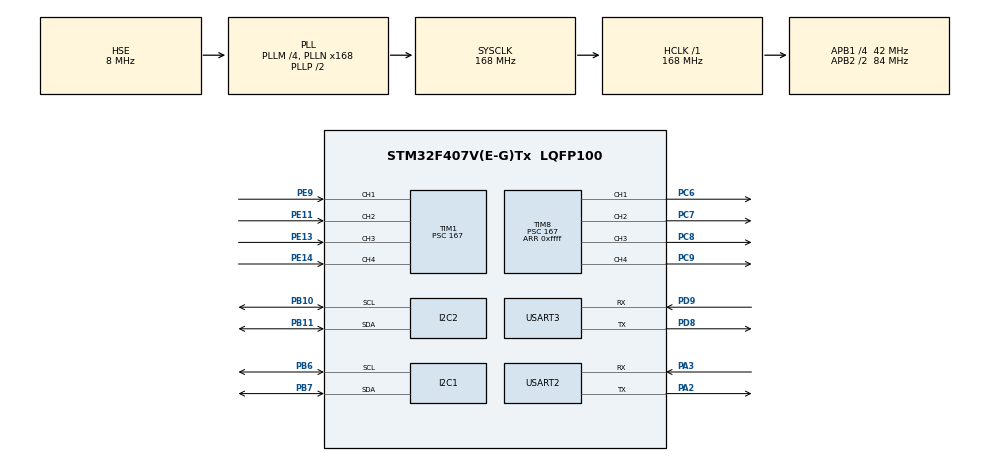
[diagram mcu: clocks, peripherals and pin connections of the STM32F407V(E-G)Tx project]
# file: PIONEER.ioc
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Mcu.Family=STM32F4
PH0-OSC_IN.Signal=RCC_OSC_IN
SH.S_TIM1_CH4.0=TIM1_CH4,Input_Capture4_from_TI4
PE14.GPIO_Speed=GPIO_SPEED_FREQ_VERY_HIGH
RCC.CortexFreq_Value=168000000
PB10.Mode=I2C
PE9.GPIO_ModeDefaultPP=GPIO_MODE_AF_PP
PE9.GPIO_Speed=GPIO_SPEED_FREQ_VERY_HIGH
TIM8.Channel-PWM\ Generation4\ CH4=TIM_CHANNEL_4
PB11.Signal=I2C2_SDA
PD9.Mode=Asynchronous
RCC.SYSCLKSource=RCC_SYSCLKSOURCE_PLLCLK
ProjectManager.StackSize=0x400
TIM1.Prescaler=167
PE11.GPIO_PuPd=GPIO_PULLDOWN
RCC.HCLKFreq_Value=168000000
TIM8.Channel-PWM\ Generation1\ CH1=TIM_CHANNEL_1
RCC.APB2TimFreq_Value=168000000
PB6.Signal=I2C1_SCL
PC7.Signal=S_TIM8_CH2
PB6.Mode=I2C
PD8.Signal=USART3_TX
RCC.AHBFreq_Value=168000000
PH0-OSC_IN.Mode=HSE-External-Oscillator
RCC.HSE_VALUE=8000000
PE13.GPIO_PuPd=GPIO_PULLDOWN
PE13.Signal=S_TIM1_CH3
PE9.Signal=S_TIM1_CH1
TIM1.Channel-Input_Capture3_from_TI3=TIM_CHANNEL_3
NVIC.TIM2_IRQn=true\:0\:0\:false\:false\:true\:true\:true
PB7.Signal=I2C1_SDA
TIM1.Channel-Input_Capture2_from_TI2=TIM_CHANNEL_2
PH1-OSC_OUT.Mode=HSE-External-Oscillator
Mcu.Package=LQFP100
TIM2.Prescaler=83
TIM8.Channel-PWM\ Generation3\ CH3=TIM_CHANNEL_3
SH.S_TIM8_CH4.0=TIM8_CH4,PWM Generation4 CH4
USART2.VirtualMode=VM_ASYNC
TIM8.Channel-PWM\ Generation2\ CH2=TIM_CHANNEL_2
TIM8.Prescaler=167
RCC.APB2CLKDivider=RCC_HCLK_DIV2
RCC.APB1TimFreq_Value=84000000
NVIC.RCC_IRQn=true\:1\:0\:true\:false\:true\:true\:false
PA3.Signal=USART2_RX
SH.S_TIM8_CH3.0=TIM8_CH3,PWM Generation3 CH3
RCC.PLLSourceVirtual=RCC_PLLSOURCE_HSE
PE11.GPIO_Speed=GPIO_SPEED_FREQ_VERY_HIGH
PC8.Signal=S_TIM8_CH3
PC6.Signal=S_TIM8_CH1
PD9.Signal=USART3_RX
RCC.APB1CLKDivider=RCC_HCLK_DIV4
SH.S_TIM8_CH2.0=TIM8_CH2,PWM Generation2 CH2
PA3.Mode=Asynchronous
SH.S_TIM1_CH1.0=TIM1_CH1,Input_Capture1_from_TI1
PB11.Mode=I2C
ProjectManager.TargetToolchain=Makefile
PE11.Signal=S_TIM1_CH2
RCC.LSE_VALUE=32768
PD8.Mode=Asynchronous
PB10.Signal=I2C2_SCL
SH.S_TIM8_CH1.0=TIM8_CH1,PWM Generation1 CH1
board=custom
RCC.VCOOutputFreq_Value=336000000
RCC.APB2Freq_Value=84000000
PE14.Signal=S_TIM1_CH4
SH.S_TIM1_CH2.0=TIM1_CH2,Input_Capture2_from_TI2
VP_TIM2_VS_ClockSourceINT.Mode=Internal
PC9.GPIO_PuPd=GPIO_NOPULL
PH1-OSC_OUT.Signal=RCC_OSC_OUT
PE14.GPIO_PuPd=GPIO_PULLDOWN
Mcu.Name=STM32F407V(E-G)Tx
PA2.Signal=USART2_TX
NVIC.TIM1_CC_IRQn=true\:0\:0\:false\:false\:true\:true\:true
TIM8.Period=0xffff
RCC.48MHZClocksFreq_Value=84000000
RCC.SYSCLKFreq_VALUE=168000000
USART3.VirtualMode=VM_ASYNC
TIM1.Channel-Input_Capture1_from_TI1=TIM_CHANNEL_1
PB7.Mode=I2C
ProjectManager.HeapSize=0x200
SH.S_TIM1_CH3.0=TIM1_CH3,Input_Capture3_from_TI3
RCC.HSI_VALUE=16000000
NVIC.PriorityGroup=NVIC_PRIORITYGROUP_4
RCC.PLLM=4
RCC.PLLN=168
PE13.GPIO_Speed=GPIO_SPEED_FREQ_VERY_HIGH
PA2.Mode=Asynchronous
PC9.Signal=S_TIM8_CH4
RCC.APB1Freq_Value=42000000
TIM1.Channel-Input_Capture4_from_TI4=TIM_CHANNEL_4
PE9.GPIO_PuPd=GPIO_PULLDOWN

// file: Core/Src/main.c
/* USER CODE BEGIN Header */
/**
  ******************************************************************************
  * @file           : main.c
  * @brief          : Main program body
  ******************************************************************************
  * @attention
  *
  * <h2><center>&copy; Copyright (c) 2020 STMicroelectronics.
  * All rights reserved.</center></h2>
  *
  * This software component is licensed by ST under BSD 3-Clause license,
  * the "License"; You may not use this file except in compliance with the
  * License. You may obtain a copy of the License at:
  *                        opensource.org/licenses/BSD-3-Clause
  *
  ******************************************************************************
  */
/* USER CODE END Header */
#include "main.h"

I2C_HandleTypeDef hi2c1;
I2C_HandleTypeDef hi2c2;

TIM_HandleTypeDef htim1;
TIM_HandleTypeDef htim2;
TIM_HandleTypeDef htim8;

UART_HandleTypeDef huart2;
UART_HandleTypeDef huart3;

/* USER CODE BEGIN PV */
int  capture_Buf[4][2]={{0,0},{0,0},{0,0},{0,0}}; //存放计数值
int  capture_Cnt[4]={0,0,0,0};//状态标志位
int  high_time[4]={0,0,0,0}; //高电平时间
char buf[4][20];
char temp[20];

/* USER CODE END PV */

void SystemClock_Config(void);
static void MX_GPIO_Init(void);
static void MX_I2C1_Init(void);
static void MX_I2C2_Init(void);
static void MX_TIM1_Init(void);
static void MX_TIM8_Init(void);
static void MX_USART2_UART_Init(void);
static void MX_USART3_UART_Init(void);
static void MX_TIM2_Init(void);

int main(void)
{

  /* MCU Configuration--------------------------------------------------------*/

  /* Reset of all peripherals, Initializes the Flash interface and the Systick. */
  HAL_Init();

  /* Configure the system clock */
  SystemClock_Config();

  /* Initialize all configured peripherals */
  MX_GPIO_Init();
  MX_I2C1_Init();
  MX_I2C2_Init();
  MX_TIM1_Init();
  MX_TIM8_Init();
  MX_USART2_UART_Init();
  MX_USART3_UART_Init();
  MX_TIM2_Init();
  /* USER CODE BEGIN 2 */
  bsp_OLED_Init();
  bsp_OLED_ON();
  bsp_OLED_CLR();
  HAL_TIM_IC_Start_IT(&htim1, TIM_CHANNEL_1);	//启动输入捕获
  HAL_TIM_IC_Start_IT(&htim1, TIM_CHANNEL_2);
  HAL_TIM_IC_Start_IT(&htim1, TIM_CHANNEL_3);
  HAL_TIM_IC_Start_IT(&htim1, TIM_CHANNEL_4);
  HAL_TIM_PWM_Start(&htim8, TIM_CHANNEL_1);  //使能PWM输出
	HAL_TIM_PWM_Start(&htim8, TIM_CHANNEL_2);  //使能PWM输出
  HAL_TIM_PWM_Start(&htim8, TIM_CHANNEL_3);  //使能PWM输出
  HAL_TIM_PWM_Start(&htim8, TIM_CHANNEL_4);  //使能PWM输出
  __HAL_TIM_SetCompare(&htim8, TIM_CHANNEL_1, 2000);
  __HAL_TIM_SetCompare(&htim8, TIM_CHANNEL_2, 2000);
  __HAL_TIM_SetCompare(&htim8, TIM_CHANNEL_3, 2000);
  __HAL_TIM_SetCompare(&htim8, TIM_CHANNEL_4, 2000);

  /* USER CODE END 2 */

  /* Infinite loop */
  while (1)
  {

    /* USER CODE BEGIN 3 */
    //bsp_TIMIN_C();
  //  bsp_OLED_CLR();
    //HAL_Delay(100);
    //sprintf(buf[0],"ch1 high time:%4d",high_time[0]);
	  //bsp_OLED_ShowStr(0, 0,buf[0], 1);//显示字符串

    bsp_OLED_ShowNum(0,0,high_time[0],4,12);
    bsp_OLED_ShowNum(0,2,high_time[1],4,12);
    bsp_OLED_ShowNum(0,4,high_time[2],4,12);
    bsp_OLED_ShowNum(0,6,high_time[3],4,12);
    __HAL_TIM_SetCompare(&htim8, TIM_CHANNEL_1, high_time[0]);
    __HAL_TIM_SetCompare(&htim8, TIM_CHANNEL_2, high_time[1]);
    __HAL_TIM_SetCompare(&htim8, TIM_CHANNEL_3, high_time[2]);
    __HAL_TIM_SetCompare(&htim8, TIM_CHANNEL_4, high_time[3]);

    // sprintf(buf[1],"ch2 high time:%d",high_time[1]);
	  // bsp_OLED_ShowStr(0, 2,buf[1], 1);//显示字符串
    // sprintf(buf[2],"ch3 high time:%d",high_time[2]);
	  // bsp_OLED_ShowStr(0, 4,buf[2], 1);//显示字符串
    // sprintf(buf[3],"ch4 high time:%d",high_time[3]);
	  // bsp_OLED_ShowStr(0, 6,buf[3], 1);//显示字符串

  }
  /* USER CODE END 3 */
}

void SystemClock_Config(void)
{
  RCC_OscInitTypeDef RCC_OscInitStruct = {0};
  RCC_ClkInitTypeDef RCC_ClkInitStruct = {0};

  /** Configure the main internal regulator output voltage
  */
  __HAL_RCC_PWR_CLK_ENABLE();
  __HAL_PWR_VOLTAGESCALING_CONFIG(PWR_REGULATOR_VOLTAGE_SCALE1);
  /** Initializes the RCC Oscillators according to the specified parameters
  * in the RCC_OscInitTypeDef structure.
  */
  RCC_OscInitStruct.OscillatorType = RCC_OSCILLATORTYPE_HSE;
  RCC_OscInitStruct.HSEState = RCC_HSE_ON;
  RCC_OscInitStruct.PLL.PLLState = RCC_PLL_ON;
  RCC_OscInitStruct.PLL.PLLSource = RCC_PLLSOURCE_HSE;
  RCC_OscInitStruct.PLL.PLLM = 4;
  RCC_OscInitStruct.PLL.PLLN = 168;
  RCC_OscInitStruct.PLL.PLLP = RCC_PLLP_DIV2;
  RCC_OscInitStruct.PLL.PLLQ = 4;
  if (HAL_RCC_OscConfig(&RCC_OscInitStruct) != HAL_OK)
  {
    Error_Handler();
  }
  /** Initializes the CPU, AHB and APB buses clocks
  */
  RCC_ClkInitStruct.ClockType = RCC_CLOCKTYPE_HCLK|RCC_CLOCKTYPE_SYSCLK
                              |RCC_CLOCKTYPE_PCLK1|RCC_CLOCKTYPE_PCLK2;
  RCC_ClkInitStruct.SYSCLKSource = RCC_SYSCLKSOURCE_PLLCLK;
  RCC_ClkInitStruct.AHBCLKDivider = RCC_SYSCLK_DIV1;
  RCC_ClkInitStruct.APB1CLKDivider = RCC_HCLK_DIV4;
  RCC_ClkInitStruct.APB2CLKDivider = RCC_HCLK_DIV2;

  if (HAL_RCC_ClockConfig(&RCC_ClkInitStruct, FLASH_LATENCY_5) != HAL_OK)
  {
    Error_Handler();
  }
}

static void MX_I2C1_Init(void)
{

  hi2c1.Instance = I2C1;
  hi2c1.Init.ClockSpeed = 100000;
  hi2c1.Init.DutyCycle = I2C_DUTYCYCLE_2;
  hi2c1.Init.OwnAddress1 = 0;
  hi2c1.Init.AddressingMode = I2C_ADDRESSINGMODE_7BIT;
  hi2c1.Init.DualAddressMode = I2C_DUALADDRESS_DISABLE;
  hi2c1.Init.OwnAddress2 = 0;
  hi2c1.Init.GeneralCallMode = I2C_GENERALCALL_DISABLE;
  hi2c1.Init.NoStretchMode = I2C_NOSTRETCH_DISABLE;
  if (HAL_I2C_Init(&hi2c1) != HAL_OK)
  {
    Error_Handler();
  }

}

static void MX_I2C2_Init(void)
{

  hi2c2.Instance = I2C2;
  hi2c2.Init.ClockSpeed = 100000;
  hi2c2.Init.DutyCycle = I2C_DUTYCYCLE_2;
  hi2c2.Init.OwnAddress1 = 0;
  hi2c2.Init.AddressingMode = I2C_ADDRESSINGMODE_7BIT;
  hi2c2.Init.DualAddressMode = I2C_DUALADDRESS_DISABLE;
  hi2c2.Init.OwnAddress2 = 0;
  hi2c2.Init.GeneralCallMode = I2C_GENERALCALL_DISABLE;
  hi2c2.Init.NoStretchMode = I2C_NOSTRETCH_DISABLE;
  if (HAL_I2C_Init(&hi2c2) != HAL_OK)
  {
    Error_Handler();
  }

}

static void MX_TIM1_Init(void)
{

  TIM_MasterConfigTypeDef sMasterConfig = {0};
  TIM_IC_InitTypeDef sConfigIC = {0};

  htim1.Instance = TIM1;
  htim1.Init.Prescaler = 83;
  htim1.Init.CounterMode = TIM_COUNTERMODE_UP;
  htim1.Init.Period = 65535;
  htim1.Init.ClockDivision = TIM_CLOCKDIVISION_DIV1;
  htim1.Init.RepetitionCounter = 0;
  htim1.Init.AutoReloadPreload = TIM_AUTORELOAD_PRELOAD_DISABLE;
  if (HAL_TIM_IC_Init(&htim1) != HAL_OK)
  {
    Error_Handler();
  }
  sMasterConfig.MasterOutputTrigger = TIM_TRGO_RESET;
  sMasterConfig.MasterSlaveMode = TIM_MASTERSLAVEMODE_DISABLE;
  if (HAL_TIMEx_MasterConfigSynchronization(&htim1, &sMasterConfig) != HAL_OK)
  {
    Error_Handler();
  }
  sConfigIC.ICPolarity = TIM_INPUTCHANNELPOLARITY_RISING;
  sConfigIC.ICSelection = TIM_ICSELECTION_DIRECTTI;
  sConfigIC.ICPrescaler = TIM_ICPSC_DIV1;
  sConfigIC.ICFilter = 0;
  if (HAL_TIM_IC_ConfigChannel(&htim1, &sConfigIC, TIM_CHANNEL_1) != HAL_OK)
  {
    Error_Handler();
  }
  if (HAL_TIM_IC_ConfigChannel(&htim1, &sConfigIC, TIM_CHANNEL_2) != HAL_OK)
  {
    Error_Handler();
  }
  if (HAL_TIM_IC_ConfigChannel(&htim1, &sConfigIC, TIM_CHANNEL_3) != HAL_OK)
  {
    Error_Handler();
  }
  if (HAL_TIM_IC_ConfigChannel(&htim1, &sConfigIC, TIM_CHANNEL_4) != HAL_OK)
  {
    Error_Handler();
  }

}

static void MX_TIM2_Init(void)
{

  TIM_ClockConfigTypeDef sClockSourceConfig = {0};
  TIM_MasterConfigTypeDef sMasterConfig = {0};

  htim2.Instance = TIM2;
  htim2.Init.Prescaler = 0;
  htim2.Init.CounterMode = TIM_COUNTERMODE_UP;
  htim2.Init.Period = 4294967295;
  htim2.Init.ClockDivision = TIM_CLOCKDIVISION_DIV1;
  htim2.Init.AutoReloadPreload = TIM_AUTORELOAD_PRELOAD_DISABLE;
  if (HAL_TIM_Base_Init(&htim2) != HAL_OK)
  {
    Error_Handler();
  }
  sClockSourceConfig.ClockSource = TIM_CLOCKSOURCE_INTERNAL;
  if (HAL_TIM_ConfigClockSource(&htim2, &sClockSourceConfig) != HAL_OK)
  {
    Error_Handler();
  }
  sMasterConfig.MasterOutputTrigger = TIM_TRGO_RESET;
  sMasterConfig.MasterSlaveMode = TIM_MASTERSLAVEMODE_DISABLE;
  if (HAL_TIMEx_MasterConfigSynchronization(&htim2, &sMasterConfig) != HAL_OK)
  {
    Error_Handler();
  }

}

static void MX_TIM8_Init(void)
{

  TIM_MasterConfigTypeDef sMasterConfig = {0};
  TIM_OC_InitTypeDef sConfigOC = {0};
  TIM_BreakDeadTimeConfigTypeDef sBreakDeadTimeConfig = {0};

  htim8.Instance = TIM8;
  htim8.Init.Prescaler =83;
  htim8.Init.CounterMode = TIM_COUNTERMODE_UP;
  htim8.Init.Period = 65535;
  htim8.Init.ClockDivision = TIM_CLOCKDIVISION_DIV1;
  htim8.Init.RepetitionCounter = 0;
  htim8.Init.AutoReloadPreload = TIM_AUTORELOAD_PRELOAD_DISABLE;
  if (HAL_TIM_PWM_Init(&htim8) != HAL_OK)
  {
    Error_Handler();
  }
  sMasterConfig.MasterOutputTrigger = TIM_TRGO_RESET;
  sMasterConfig.MasterSlaveMode = TIM_MASTERSLAVEMODE_DISABLE;
  if (HAL_TIMEx_MasterConfigSynchronization(&htim8, &sMasterConfig) != HAL_OK)
  {
    Error_Handler();
  }
  sConfigOC.OCMode = TIM_OCMODE_PWM1;
  sConfigOC.Pulse = 0;
  sConfigOC.OCPolarity = TIM_OCPOLARITY_HIGH;
  sConfigOC.OCNPolarity = TIM_OCNPOLARITY_HIGH;
  sConfigOC.OCFastMode = TIM_OCFAST_DISABLE;
  sConfigOC.OCIdleState = TIM_OCIDLESTATE_RESET;
  sConfigOC.OCNIdleState = TIM_OCNIDLESTATE_RESET;
  if (HAL_TIM_PWM_ConfigChannel(&htim8, &sConfigOC, TIM_CHANNEL_1) != HAL_OK)
  {
    Error_Handler();
  }
  if (HAL_TIM_PWM_ConfigChannel(&htim8, &sConfigOC, TIM_CHANNEL_2) != HAL_OK)
  {
    Error_Handler();
  }
  if (HAL_TIM_PWM_ConfigChannel(&htim8, &sConfigOC, TIM_CHANNEL_3) != HAL_OK)
  {
    Error_Handler();
  }
  if (HAL_TIM_PWM_ConfigChannel(&htim8, &sConfigOC, TIM_CHANNEL_4) != HAL_OK)
  {
    Error_Handler();
  }
  sBreakDeadTimeConfig.OffStateRunMode = TIM_OSSR_DISABLE;
  sBreakDeadTimeConfig.OffStateIDLEMode = TIM_OSSI_DISABLE;
  sBreakDeadTimeConfig.LockLevel = TIM_LOCKLEVEL_OFF;
  sBreakDeadTimeConfig.DeadTime = 0;
  sBreakDeadTimeConfig.BreakState = TIM_BREAK_DISABLE;
  sBreakDeadTimeConfig.BreakPolarity = TIM_BREAKPOLARITY_HIGH;
  sBreakDeadTimeConfig.AutomaticOutput = TIM_AUTOMATICOUTPUT_DISABLE;
  if (HAL_TIMEx_ConfigBreakDeadTime(&htim8, &sBreakDeadTimeConfig) != HAL_OK)
  {
    Error_Handler();
  }
  HAL_TIM_MspPostInit(&htim8);

}

static void MX_USART2_UART_Init(void)
{

  huart2.Instance = USART2;
  huart2.Init.BaudRate = 115200;
  huart2.Init.WordLength = UART_WORDLENGTH_8B;
  huart2.Init.StopBits = UART_STOPBITS_1;
  huart2.Init.Parity = UART_PARITY_NONE;
  huart2.Init.Mode = UART_MODE_TX_RX;
  huart2.Init.HwFlowCtl = UART_HWCONTROL_NONE;
  huart2.Init.OverSampling = UART_OVERSAMPLING_16;
  if (HAL_UART_Init(&huart2) != HAL_OK)
  {
    Error_Handler();
  }

}

static void MX_USART3_UART_Init(void)
{

  huart3.Instance = USART3;
  huart3.Init.BaudRate = 115200;
  huart3.Init.WordLength = UART_WORDLENGTH_8B;
  huart3.Init.StopBits = UART_STOPBITS_1;
  huart3.Init.Parity = UART_PARITY_NONE;
  huart3.Init.Mode = UART_MODE_TX_RX;
  huart3.Init.HwFlowCtl = UART_HWCONTROL_NONE;
  huart3.Init.OverSampling = UART_OVERSAMPLING_16;
  if (HAL_UART_Init(&huart3) != HAL_OK)
  {
    Error_Handler();
  }

}

static void MX_GPIO_Init(void)
{

  /* GPIO Ports Clock Enable */
  __HAL_RCC_GPIOH_CLK_ENABLE();
  __HAL_RCC_GPIOA_CLK_ENABLE();
  __HAL_RCC_GPIOE_CLK_ENABLE();
  __HAL_RCC_GPIOB_CLK_ENABLE();
  __HAL_RCC_GPIOD_CLK_ENABLE();
  __HAL_RCC_GPIOC_CLK_ENABLE();

}

void Error_Handler(void)
{
}

/************************ (C) COPYRIGHT STMicroelectronics *****END OF FILE****/
